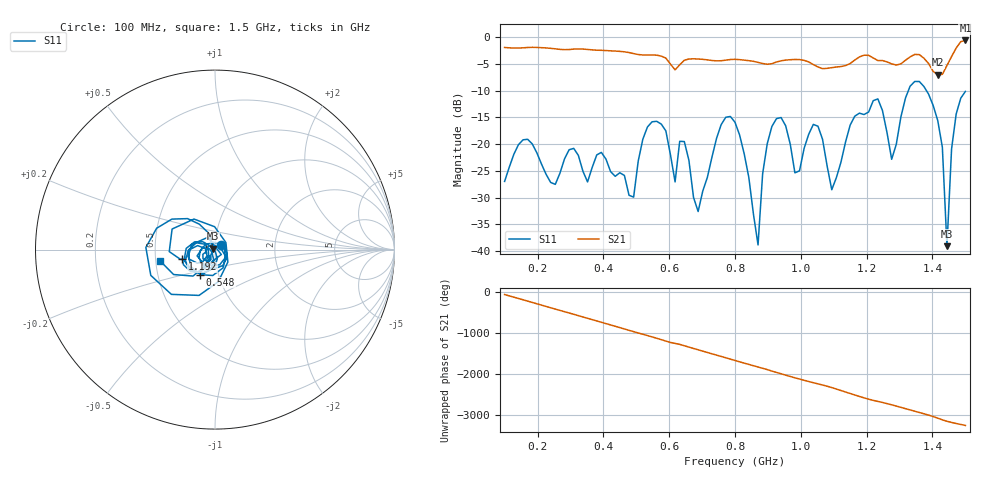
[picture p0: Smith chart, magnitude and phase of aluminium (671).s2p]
! NanoVNA-App
! Date: 2025-09-25 15:00:30
! Start: 100MHz Stop: 1,5GHz Points: 101
! S-Parameter data: F S11 S21 S12 S22
# Hz S RI R 50
!  Frequency  S11_Real  S11_Imag  S21_Real  S21_Imag  S12_Real  S12_Imag  S22_Real  S22_Imag
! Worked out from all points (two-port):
!   101 points, 100 MHz to 1.5 GHz, reference 50 ohm
!   highest |S21| = -0.61 dB at 1.5 GHz (marker M1); lowest = -7.0 dB at 1.416 GHz (marker M2)
!   |S21| within 3 dB of the highest: start of sweep to 578.8 MHz; 1.458 GHz to end of sweep (the widest 2 of 4)
!   lowest |S11| = -39.1 dB at 1.444 GHz (marker M3), VSWR 1.02, Z = 49 + j0.543 ohm
!   |S11| at or under -10 dB: start of sweep to 1.327 GHz; 1.382 GHz to end of sweep
!   S12 and S22 are empty: the file has one direction only
!   S11 on the Smith chart (normalised r, x): 100 MHz: 1.07, +0.06; 548 MHz: 0.82, -0.23; 1.192 GHz: 0.69, -0.08; 1.5 GHz: 0.53, -0.08
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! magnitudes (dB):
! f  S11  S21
! 100 MHz  -27.0  -1.9
! 156 MHz  -19.2  -2.0
! 338 MHz  -25.1  -2.2
! 492 MHz  -29.9  -3.1
! 548 MHz  -15.8  -3.3
! 576 MHz  -16.2  -3.5
! 646 MHz  -19.5  -4.3
! 688 MHz  -32.6  -4.1
! 800 MHz  -15.9  -4.1
! 870 MHz  -38.8  -4.7
! 912 MHz  -16.7  -5.0
! 982 MHz  -25.4  -4.2
! 1.038 GHz  -16.3  -5.1
! 1.094 GHz  -28.5  -5.7
! 1.192 GHz  -14.5  -3.4
! 1.234 GHz  -11.5  -4.4
! 1.276 GHz  -22.8  -5.0
! 1.346 GHz  -8.3  -3.2
! 1.416 GHz  -15.6  -7.0
! 1.444 GHz  -39.1  -5.3
! 1.458 GHz  -20.9  -3.6
! 1.5 GHz  -10.1  -0.6
